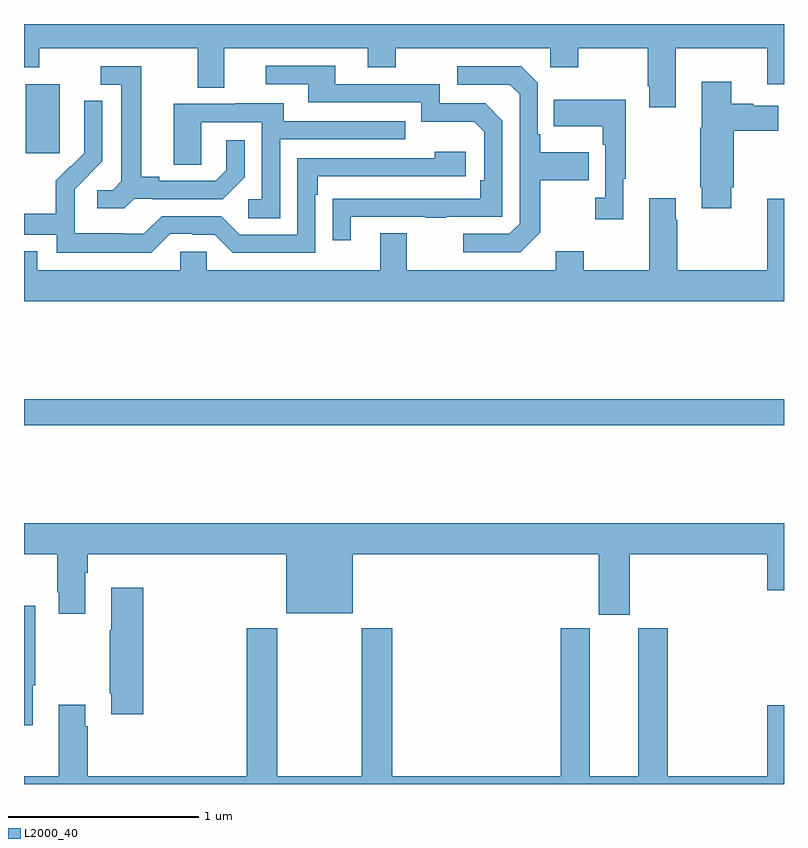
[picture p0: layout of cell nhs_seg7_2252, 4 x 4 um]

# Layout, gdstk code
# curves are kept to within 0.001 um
import gdstk
lib = gdstk.Library(unit=1e-6, precision=1e-09)
def R(c, l, rs):  # rectangles x0, y0, x1, y1
    for r in rs: c.add(gdstk.rectangle(r[:2], r[2:], *l))
def P(c, l, *ps):  # polygons
    for p in ps: c.add(gdstk.Polygon(p, *l))
L2000_40 = (2000, 40)

nhs_seg7_2252 = lib.new_cell('nhs_seg7_2252')
R(nhs_seg7_2252, L2000_40, [(257,1075.888,261,1076.024), (257.009,1077.321,257.188,1077.682)])
P(nhs_seg7_2252, L2000_40, [(260.431,1077.872),(260.912,1077.872),(260.912,1077.684),(261,1077.684),(261,1078),(257,1078),(257,1077.773),(257.079,1077.773),(257.079,1077.872),(257.915,1077.872),(257.915,1077.664),(258.055,1077.664),(258.055,1077.872),(258.809,1077.872),(258.809,1077.773),(258.957,1077.773),(258.957,1077.872),(259.77,1077.872),(259.77,1077.773),(259.916,1077.773),(259.916,1077.872),(260.284,1077.872),(260.284,1077.673),(260.291,1077.673),(260.291,1077.561),(260.431,1077.561)],
  [(258.721,1076.985),(259.111,1076.985),(259.111,1076.98),(259.223,1076.98),(259.223,1076.985),(259.518,1076.985),(259.518,1077.492),(259.428,1077.582),(259.188,1077.582),(259.188,1077.684),(258.637,1077.684),(258.637,1077.78),(258.273,1077.78),(258.273,1077.684),(258.497,1077.684),(258.497,1077.588),(259.092,1077.588),(259.092,1077.485),(259.369,1077.485),(259.422,1077.432),(259.422,1077.178),(259.402,1077.178),(259.402,1077.081),(258.625,1077.08),(258.625,1076.862),(258.721,1076.862)],
  [(259.717,1076.905),(259.717,1077.178),(259.973,1077.178),(259.973,1077.325),(259.717,1077.325),(259.717,1077.421),(259.704,1077.421),(259.704,1077.69),(259.617,1077.777),(259.281,1077.777),(259.281,1077.681),(259.557,1077.681),(259.608,1077.63),(259.608,1076.949),(259.554,1076.895),(259.311,1076.895),(259.311,1076.799),(259.611,1076.799)],
  [(257.58,1077.081),(257.674,1077.081),(257.674,1077.078),(258.046,1077.078),(258.162,1077.194),(258.162,1077.388),(258.065,1077.388),(258.065,1077.231),(258.008,1077.174),(257.713,1077.174),(257.713,1077.197),(257.617,1077.197),(257.617,1077.777),(257.403,1077.777),(257.403,1077.681),(257.513,1077.681),(257.513,1077.173),(257.466,1077.126),(257.385,1077.126),(257.385,1077.029),(257.528,1077.029)],
  [(260.722,1077.142),(260.735,1077.142),(260.735,1077.437),(260.971,1077.437),(260.971,1077.571),(260.838,1077.571),(260.838,1077.579),(260.722,1077.579),(260.722,1077.697),(260.567,1077.697),(260.567,1077.453),(260.56,1077.453),(260.56,1077.142),(260.567,1077.142),(260.567,1077.03),(260.722,1077.03)],
  [(260.155,1077.185),(260.166,1077.185),(260.166,1077.601),(259.789,1077.601),(259.789,1077.461),(260.046,1077.461),(260.046,1077.365),(260.058,1077.365),(260.058,1077.086),(260.007,1077.086),(260.007,1076.973),(260.155,1076.973)],
  [(257.769,1076.895),(257.885,1076.895),(257.885,1076.892),(258.003,1076.892),(258.099,1076.796),(258.534,1076.796),(258.534,1077.101),(258.547,1077.101),(258.547,1077.198),(259.324,1077.198),(259.324,1077.328),(259.163,1077.328),(259.163,1077.294),(258.438,1077.294),(258.438,1076.892),(258.135,1076.892),(258.039,1076.988),(257.724,1076.988),(257.631,1076.895),(257.531,1076.895),(257.531,1076.899),(257.268,1076.899),(257.268,1077.033),(257.266,1077.033),(257.266,1077.13),(257.412,1077.278),(257.412,1077.596),(257.316,1077.596),(257.316,1077.442),(257.318,1077.442),(257.318,1077.32),(257.247,1077.249),(257.244,1077.252),(257.167,1077.175),(257.167,1077.001),(257,1077.001),(257,1076.892),(257.172,1076.892),(257.172,1076.795),(257.669,1076.795)],
  [(258.348,1077.393),(259.007,1077.393),(259.007,1077.489),(258.367,1077.489),(258.367,1077.583),(258.113,1077.583),(258.113,1077.579),(257.789,1077.579),(257.789,1077.259),(257.934,1077.259),(257.934,1077.483),(258.252,1077.483),(258.252,1077.078),(258.18,1077.078),(258.18,1076.977),(258.348,1076.977)],
  [(261,1077.079),(260.912,1077.079),(260.912,1076.704),(260.439,1076.704),(260.439,1076.969),(260.431,1076.969),(260.431,1077.082),(260.291,1077.082),(260.291,1076.704),(259.947,1076.704),(259.947,1076.803),(259.799,1076.803),(259.799,1076.704),(259.015,1076.704),(259.015,1076.899),(258.875,1076.899),(258.875,1076.704),(257.961,1076.704),(257.961,1076.802),(257.823,1076.802),(257.823,1076.704),(257.071,1076.704),(257.071,1076.803),(257,1076.803),(257,1076.54),(261,1076.54)],
  [(260.188,1075.208),(260.912,1075.208),(260.912,1075.02),(261,1075.02),(261,1075.372),(257,1075.372),(257,1075.208),(257.176,1075.208),(257.176,1075.009),(257.183,1075.009),(257.183,1074.897),(257.323,1074.897),(257.323,1075.112),(257.336,1075.112),(257.336,1075.208),(258.38,1075.208),(258.38,1074.899),(258.73,1074.899),(258.73,1075.208),(260.024,1075.208),(260.024,1074.891),(260.188,1074.891)],
  [(257.627,1075.033),(257.459,1075.033),(257.459,1074.809),(257.452,1074.809),(257.452,1074.478),(257.459,1074.478),(257.459,1074.366),(257.627,1074.366)],
  [(257.047,1074.521),(257.059,1074.521),(257.059,1074.937),(257,1074.937),(257,1074.309),(257.047,1074.309)],
  [(261,1074.415),(260.912,1074.415),(260.912,1074.04),(260.387,1074.04),(260.387,1074.819),(260.234,1074.819),(260.234,1074.04),(259.978,1074.04),(259.978,1074.819),(259.826,1074.819),(259.826,1074.04),(258.938,1074.04),(258.938,1074.82),(258.778,1074.82),(258.778,1074.04),(258.333,1074.04),(258.333,1074.82),(258.173,1074.82),(258.173,1074.04),(257.336,1074.04),(257.336,1074.305),(257.323,1074.305),(257.323,1074.418),(257.183,1074.418),(257.183,1074.04),(257,1074.04),(257,1074),(261,1074)])

lib.write_gds('nhs_seg7_2252.gds')
